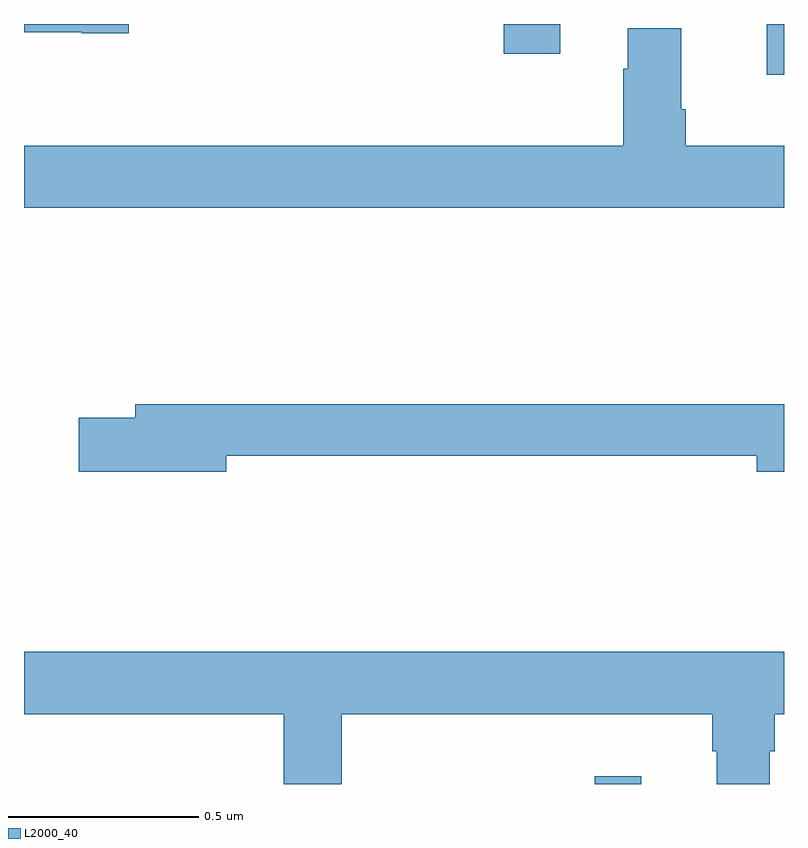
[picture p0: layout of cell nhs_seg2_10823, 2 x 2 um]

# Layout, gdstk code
import gdstk
lib = gdstk.Library(unit=1e-6, precision=1e-09)
def R(c, l, rs):  # rectangles x0, y0, x1, y1
    for r in rs: c.add(gdstk.rectangle(r[:2], r[2:], *l))
def P(c, l, *ps):  # polygons
    for p in ps: c.add(gdstk.Polygon(p, *l))
L2000_40 = (2000, 40)

nhs_seg2_10823 = lib.new_cell('nhs_seg2_10823')
R(nhs_seg2_10823, L2000_40, [(247.502,632.8,247.624,632.821), (247.954,634.667,248,634.8), (247.263,634.722,247.411,634.8)])
P(nhs_seg2_10823, L2000_40, [(246.275,634.8),(246,634.8),(246,634.778),(246.152,634.778),(246.152,634.776),(246.275,634.776)],
  [(248,634.48),(247.742,634.48),(247.742,634.576),(247.729,634.576),(247.729,634.789),(247.589,634.789),(247.589,634.682),(247.577,634.682),(247.577,634.48),(246,634.48),(246,634.316),(248,634.316)],
  [(246.532,633.664),(247.928,633.664),(247.928,633.622),(248,633.622),(248,633.8),(246.293,633.8),(246.293,633.764),(246.144,633.764),(246.144,633.622),(246.532,633.622)],
  [(246.836,632.984),(247.811,632.984),(247.811,632.886),(247.823,632.886),(247.823,632.8),(247.963,632.8),(247.963,632.886),(247.976,632.886),(247.976,632.984),(248,632.984),(248,633.148),(246,633.148),(246,632.984),(246.683,632.984),(246.683,632.8),(246.836,632.8)])

lib.write_gds('nhs_seg2_10823.gds')
